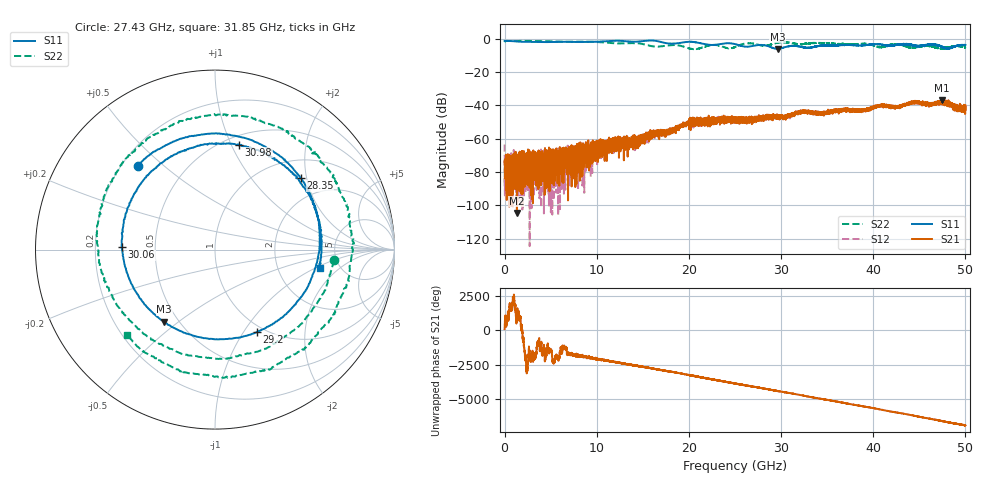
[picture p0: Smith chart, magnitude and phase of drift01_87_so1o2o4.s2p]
!Created with skrf (http://scikit-rf.org).
# Hz S RI R 50.0
!freq ReS11 ImS11 ReS21 ImS21 ReS12 ImS12 ReS22 ImS22
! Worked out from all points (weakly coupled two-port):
!   10001 points, 300 kHz to 50 GHz, reference 50 ohm
!   highest |S21| = -36.99 dB at 47.42 GHz (marker M1); lowest = -104.5 dB at 1.335 GHz (marker M2)
!   lowest |S11| = -6.2 dB at 29.64 GHz (marker M3), VSWR 2.93, Z = 21 - j22.2 ohm
!   |S11| at or under -10 dB: nowhere
!   |S22| runs from -6.4 to -1.4 dB; largest |S21 - S12| = 0.0039
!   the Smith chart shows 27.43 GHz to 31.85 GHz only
!   S11 on the Smith chart (normalised r, x): 27.43 GHz: 0.26, +0.41; 28.35 GHz: 1.42, +1.85; 29.2 GHz: 0.92, -1.15; 30.06 GHz: 0.32, +0.01; 30.98 GHz: 0.59, +1.07; 31.85 GHz: 3.53, -1.09
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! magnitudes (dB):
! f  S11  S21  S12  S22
! 300 kHz  -1.3  -74.1  -63.5  -2.1
! 255.3 MHz  -1.4  -76.7  -71.9  -1.4
! 1.335 GHz  -1.7  -104.5  -76.9  -1.4
! 6.19 GHz  -1.9  -69.3  -83.5  -1.8
! 8.335 GHz  -2.0  -67.8  -66.7  -1.8
! 16.67 GHz  -1.6  -56.3  -56.2  -4.8
! 18.62 GHz  -2.9  -53.8  -53.3  -3.9
! 20.5 GHz  -2.0  -50.5  -48.7  -6.3
! 22.61 GHz  -3.8  -49.8  -48.7  -3.8
! 25 GHz  -3.3  -48.9  -48.6  -5.0
! 26.22 GHz  -4.9  -47.8  -48.8  -2.9
! 27.43 GHz  -4.0  -48.0  -47.7  -3.5
! 28.35 GHz  -4.1  -46.3  -46.6  -4.2
! 29.2 GHz  -5.8  -47.1  -47.2  -3.0
! 29.64 GHz  -6.2  -48.1  -46.1  -2.5
! 30.06 GHz  -5.7  -45.8  -47.1  -2.3
! 30.98 GHz  -4.4  -47.2  -46.1  -2.5
! 31.85 GHz  -4.6  -43.7  -44.5  -3.3
! 33.34 GHz  -5.2  -43.5  -44.2  -2.6
! 41.67 GHz  -4.3  -40.3  -40.4  -4.0
! 47.42 GHz  -4.9  -37.0  -38.4  -5.8
! 50 GHz  -3.9  -40.1  -41.0  -5.2
